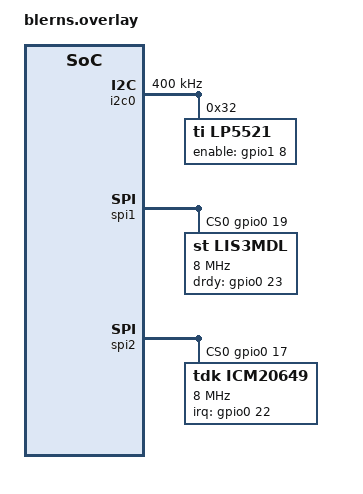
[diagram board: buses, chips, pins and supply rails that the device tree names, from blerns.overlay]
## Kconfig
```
config NRF5_POWER_MGMT_EXAMPLE
	bool
	default y
	select HAS_STATE_LOW_POWER_1
	select HAS_STATE_LOW_POWER_2
	select HAS_STATE_LOW_POWER_3
	help
	  Hidden option enabling LPS_1 and LPS_2 low power states.
	  This is needed, as these states are implemented by this example.

# Include Zephyr's Kconfig.
source "$ZEPHYR_BASE/Kconfig"
```

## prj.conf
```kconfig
CONFIG_SYS_POWER_MANAGEMENT=y
CONFIG_SYS_POWER_LOW_POWER_STATES=y
CONFIG_SYS_POWER_DEEP_SLEEP_STATES=n
CONFIG_DEVICE_POWER_MANAGEMENT=y
CONFIG_SYS_PM_STATE_LOCK=y
CONFIG_SYS_PM_LPS_1_MIN_RES=5000
CONFIG_SYS_PM_LPS_2_MIN_RES=15000
CONFIG_GPIO=y

CONFIG_TIMESLICING=n
CONFIG_TICKLESS_KERNEL=y
CONFIG_TICKLESS_IDLE=y


CONFIG_BT=n
CONFIG_BT_CTLR=n

CONFIG_SERIAL=n
CONFIG_CONSOLE=n
CONFIG_USE_SEGGER_RTT=n
CONFIG_RTT_CONSOLE=n
CONFIG_UART_CONSOLE=n

CONFIG_USB=n
CONFIG_USB_DEVICE_PRODUCT="Power Test"
CONFIG_USB_UART_CONSOLE=n

CONFIG_UART_INTERRUPT_DRIVEN=n
CONFIG_UART_LINE_CTRL=n
CONFIG_UART_0_NRF_UART=n

CONFIG_SYS_LOG=n
CONFIG_LOG=n
CONFIG_LOG_PRINTK=n
CONFIG_LOG_PROCESS_THREAD=n

CONFIG_I2C=y
CONFIG_I2C_NRFX=y
CONFIG_I2C_0=y
CONFIG_I2C_0_NRF_TWIM=y

CONFIG_SPI=y
CONFIG_SPI_NRFX=y
CONFIG_SPI_1=y
CONFIG_SPI_1_NRF_SPIM=y
CONFIG_SPI_2=y
CONFIG_SPI_2_NRF_SPIM=y

CONFIG_LED=y
CONFIG_LP5521=y

CONFIG_SENSOR=y
CONFIG_LIS3MDL=y
CONFIG_LIS3MDL_TRIGGER=n
CONFIG_LIS3MDL_THREAD_PRIORITY=1
CONFIG_LIS3MDL_TRIGGER_OWN_THREAD=y
CONFIG_LIS3MDL_TRIGGER_IRQ=n
CONFIG_LIS3MDL_TRIGGER_GLOBAL_THREAD=n
CONFIG_LIS3MDL_DATA_RAW=y
CONFIG_LIS3MDL_DATA_CONVERTED=n
CONFIG_LIS3MDL_ODR="1000"
CONFIG_LIS3MDL_FS=8

CONFIG_ICM20649=y
CONFIG_ICM20649_VERIFY_WRITE=y
CONFIG_ICM20649_TRIGGER=n
CONFIG_ICM20649_THREAD_PRIORITY=1
CONFIG_ICM20649_TRIGGER_OWN_THREAD=y
CONFIG_ICM20649_TRIGGER_IRQ=n
CONFIG_ICM20649_TRIGGER_GLOBAL_THREAD=n
CONFIG_ICM20649_ENABLE_TEMP=y
CONFIG_ICM20649_GYRO_FS=4000
CONFIG_ICM20649_ACCEL_FS=30
```

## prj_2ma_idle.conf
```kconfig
CONFIG_SYS_POWER_MANAGEMENT=y
CONFIG_SYS_POWER_LOW_POWER_STATES=y
CONFIG_SYS_POWER_DEEP_SLEEP_STATES=n
CONFIG_DEVICE_POWER_MANAGEMENT=y
CONFIG_SYS_PM_STATE_LOCK=y
CONFIG_SYS_PM_LPS_1_MIN_RES=5000
CONFIG_SYS_PM_LPS_2_MIN_RES=15000
CONFIG_GPIO=y

CONFIG_TIMESLICING=n
CONFIG_TICKLESS_KERNEL=y
CONFIG_TICKLESS_IDLE=y


CONFIG_BT=n
CONFIG_BT_CTLR=n

CONFIG_SERIAL=y
CONFIG_CONSOLE=y
CONFIG_USE_SEGGER_RTT=y
CONFIG_RTT_CONSOLE=y
CONFIG_UART_CONSOLE=n

CONFIG_USB=n
CONFIG_USB_DEVICE_PRODUCT="Power Test"
CONFIG_USB_UART_CONSOLE=n

CONFIG_UART_INTERRUPT_DRIVEN=n
CONFIG_UART_LINE_CTRL=n
CONFIG_UART_0_NRF_UART=n

CONFIG_SYS_LOG=y
CONFIG_LOG=y
CONFIG_LOG_PRINTK=y

CONFIG_I2C=y
CONFIG_I2C_NRFX=y
CONFIG_I2C_0=y
CONFIG_I2C_0_NRF_TWIM=y

CONFIG_SPI=y
CONFIG_SPI_NRFX=y
CONFIG_SPI_1=y
CONFIG_SPI_1_NRF_SPIM=y
CONFIG_SPI_2=y
CONFIG_SPI_2_NRF_SPIM=y

CONFIG_LED=y
CONFIG_LP5521=y

CONFIG_SENSOR=y
CONFIG_LIS3MDL=y
CONFIG_LIS3MDL_TRIGGER=n
CONFIG_LIS3MDL_THREAD_PRIORITY=1
CONFIG_LIS3MDL_TRIGGER_OWN_THREAD=y
CONFIG_LIS3MDL_TRIGGER_IRQ=n
CONFIG_LIS3MDL_TRIGGER_GLOBAL_THREAD=n
CONFIG_LIS3MDL_DATA_RAW=y
CONFIG_LIS3MDL_DATA_CONVERTED=n
CONFIG_LIS3MDL_ODR="1000"
CONFIG_LIS3MDL_FS=8

CONFIG_ICM20649=y
CONFIG_ICM20649_VERIFY_WRITE=y
CONFIG_ICM20649_TRIGGER=n
CONFIG_ICM20649_THREAD_PRIORITY=1
CONFIG_ICM20649_TRIGGER_OWN_THREAD=y
CONFIG_ICM20649_TRIGGER_IRQ=n
CONFIG_ICM20649_TRIGGER_GLOBAL_THREAD=n
CONFIG_ICM20649_ENABLE_TEMP=y
CONFIG_ICM20649_GYRO_FS=4000
CONFIG_ICM20649_ACCEL_FS=30
```

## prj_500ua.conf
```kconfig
# Generated by Kconfiglib (https://github.com/ulfalizer/Kconfiglib)
CONFIG_SPI=y
CONFIG_SOC_SERIES_NRF52X=y
CONFIG_SOC_NRF52840_QIAA=y
CONFIG_ARM_MPU=y
CONFIG_ARM=y
CONFIG_MAIN_STACK_SIZE=2048
CONFIG_IDLE_STACK_SIZE=512
# CONFIG_TIMESLICING is not set
CONFIG_SYS_POWER_LOW_POWER_STATES=y
CONFIG_SYS_PM_STATE_LOCK=y
CONFIG_SYS_PM_LPS_2_MIN_RES=15000
CONFIG_DEVICE_POWER_MANAGEMENT=y
CONFIG_SPI_2=y
CONFIG_SPI_1_NRF_SPIM=y
CONFIG_SPI_2_NRF_SPIM=y
CONFIG_I2C=y
CONFIG_I2C_0_NRF_TWIM=y
CONFIG_SENSOR=y
CONFIG_ICM20649=y
CONFIG_ICM20649_VERIFY_WRITE=y
CONFIG_ICM20649_TRIGGER_OWN_THREAD=y
CONFIG_ICM20649_THREAD_PRIORITY=1
CONFIG_ICM20649_ENABLE_TEMP=y
CONFIG_ICM20649_GYRO_FS=4000
CONFIG_ICM20649_ACCEL_FS=30
CONFIG_LIS3MDL=y
CONFIG_LIS3MDL_DATA_RAW=y
CONFIG_LIS3MDL_TRIGGER_OWN_THREAD=y
CONFIG_LIS3MDL_THREAD_PRIORITY=1
CONFIG_LIS3MDL_ODR="1000"
CONFIG_LIS3MDL_FS=8
CONFIG_LED=y
CONFIG_LP5521=y
CONFIG_EARLY_CONSOLE=y
CONFIG_ASSERT=y
CONFIG_SYS_LOG=y
CONFIG_LOG=y
CONFIG_LOG_PRINTK=y
# CONFIG_LOG_PROCESS_THREAD is not set
```

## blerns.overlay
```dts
/*
 * Copyright (c) 2018 Intel Corporation
 *
 * SPDX-License-Identifier: Apache-2.0
 */
/ {
        chosen {
                zephyr,console = &usb_cdc;
        };
};

&i2c0 {
	status = "ok";
	clock-frequency = <I2C_BITRATE_FAST>;

	lp5521@32 {
        label = "LP5521";
		compatible = "ti,lp5521";
		reg = <0x32>;
        enable-gpios = <&gpio1 8 0>;
	};
};

&spi1 {
	status = "ok";
    cs-gpios = <&gpio0 19 0>;

    lis3mdl@0 {
        label = "LIS3MDL";
        compatible = "st,lis3mdl";
        reg = <0>;
        spi-max-frequency = <8000000>;
        drdy-gpios = <&gpio0 23 0>;
    };
};

&spi2 {
	status = "ok";
    cs-gpios = <&gpio0 17 0>;

    icm20649@0 {
        label = "ICM20649";
        compatible = "tdk,icm20649";
        reg = <0>;
        spi-max-frequency = <8000000>;
        irq-gpios = <&gpio0 22 0>;
    };
};
```

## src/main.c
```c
/*
 * Copyright (c) 2016 Intel Corporation.
 *
 * SPDX-License-Identifier: Apache-2.0
 */

#include "sample.h"

#include <drivers/led/lp5521.h>
#include <drivers/sensors/lis3mdl.h>
#include <drivers/sensors/icm20649.h>

#define BUSY_WAIT_DELAY_US		(10 * 1000000)

#define LPS1_STATE_ENTER_TO		10
#define LPS2_STATE_ENTER_TO		30
#define DEEP_SLEEP_STATE_ENTER_TO	90

#define DEMO_DESCRIPTION	\
	"Demo Description\n"	\
	"Application creates idleness, due to which System Idle Thread is\n"\
	"scheduled and it enters into various Low Power States.\n"\

struct device *gpio_port;

#ifdef CONFIG_BT_ENABLE

#include <zephyr/types.h>
#include <stddef.h>
#include <string.h>
#include <errno.h>
#include <misc/printk.h>
#include <misc/byteorder.h>
#include <zephyr.h>

#include <bluetooth/bluetooth.h>
#include <bluetooth/hci.h>
#include <bluetooth/conn.h>
#include <bluetooth/uuid.h>
#include <bluetooth/gatt.h>

struct bt_conn *default_conn;

static const struct bt_data ad[] = {
	BT_DATA_BYTES(BT_DATA_FLAGS, (BT_LE_AD_GENERAL | BT_LE_AD_NO_BREDR)),
	BT_DATA_BYTES(BT_DATA_UUID16_ALL, 0x0d, 0x18, 0x0f, 0x18, 0x05, 0x18),
};

static void connected(struct bt_conn *conn, u8_t err)
{
	if (err) {
		printk("Connection failed (err %u)\n", err);
	} else {
		default_conn = bt_conn_ref(conn);
		printk("Connected\n");
	}
}

static void disconnected(struct bt_conn *conn, u8_t reason)
{
	printk("Disconnected (reason %u)\n", reason);

	if (default_conn) {
		bt_conn_unref(default_conn);
		default_conn = NULL;
	}
}

static struct bt_conn_cb conn_callbacks = {
	.connected = connected,
	.disconnected = disconnected,
};

static void bt_ready(int err)
{
	if (err) {
		printk("Bluetooth init failed (err %d)\n", err);
		return;
	}

	printk("Bluetooth initialized\n");

	err = bt_le_adv_start(BT_LE_ADV_CONN_NAME, ad, ARRAY_SIZE(ad), NULL, 0);
	if (err) {
		printk("Advertising failed to start (err %d)\n", err);
		return;
	}

	printk("Advertising successfully started\n");
}

static void auth_cancel(struct bt_conn *conn)
{
	char addr[BT_ADDR_LE_STR_LEN];

	bt_addr_le_to_str(bt_conn_get_dst(conn), addr, sizeof(addr));

	printk("Pairing cancelled: %s\n", addr);
}

static struct bt_conn_auth_cb auth_cb_display = {
	.cancel = auth_cancel,
};

#endif

/* Application main Thread */
void main(void)
{
	u32_t level = 0U;

	printk("\n\n*** Power Management Demo on %s ***\n", CONFIG_BOARD);
	printk(DEMO_DESCRIPTION);

	int err;

#ifdef CONFIG_BT_ENABLE
	err = bt_enable(bt_ready);
	if (err) {
		printk("Bluetooth init failed (err %d)\n", err);
		return;
	}

	bt_conn_cb_register(&conn_callbacks);
	bt_conn_auth_cb_register(&auth_cb_display);
#endif

#ifdef CONFIG_LIS3MDL
	struct device *lis3mdl = device_get_binding(DT_ST_LIS3MDL_0_LABEL);

	if(lis3mdl_sleep(lis3mdl) < 0) {
		printk("Failed to put lis3mdl to sleep\n");
	}
#endif

#ifdef CONFIG_ICM20649
	struct device *icm20649 = device_get_binding(DT_TDK_ICM20649_0_LABEL);
	if(icm20649_sleep(icm20649) < 0) {
		printk("Failed to put icm20649 to sleep\n");
	}
#endif

#ifdef CONFIG_LP5521
	struct device *lp5521 = device_get_binding(DT_TI_LP5521_0_LABEL);

	if(lp5521_sleep(lp5521) < 0) {
		printk("Failed to put lp5521 to sleep\n");
	}
#endif

	//gpio_port = device_get_binding(PORT);

	///* Configure Button 1 as deep sleep trigger event */
	//gpio_pin_configure(gpio_port, BUTTON_1, GPIO_DIR_IN
	//					| GPIO_PUD_PULL_UP);

	///* Configure Button 2 as wake source from deep sleep */
	//gpio_pin_configure(gpio_port, BUTTON_2, GPIO_DIR_IN
	//					| GPIO_PUD_PULL_UP
	//					| GPIO_INT | GPIO_INT_LEVEL
	//					| GPIO_CFG_SENSE_LOW);

	//gpio_pin_enable_callback(gpio_port, BUTTON_2);

	///* Configure LEDs */
	//gpio_pin_configure(gpio_port, LED_1, GPIO_DIR_OUT);
	//gpio_pin_write(gpio_port, LED_1, LED_ON);

	//gpio_pin_configure(gpio_port, LED_2, GPIO_DIR_OUT);
	//gpio_pin_write(gpio_port, LED_2, LED_ON);

	/*
	 * Start the demo.
	 */
	for (int i = 1; i <= 8; i++) {
		unsigned int sleep_seconds;

		switch (i) {
		case 3:
			printk("\n<-- Disabling %s state --->\n",
					STRINGIFY(SYS_POWER_STATE_LOW_POWER_3));
			sys_pm_ctrl_disable_state(SYS_POWER_STATE_LOW_POWER_3);
			break;

		case 5:
			printk("\n<-- Enabling %s state --->\n",
				       STRINGIFY(SYS_POWER_STATE_LOW_POWER_3));
			sys_pm_ctrl_enable_state(SYS_POWER_STATE_LOW_POWER_3);

			printk("<-- Disabling %s state --->\n",
					STRINGIFY(SYS_POWER_STATE_LOW_POWER_2));
			sys_pm_ctrl_disable_state(SYS_POWER_STATE_LOW_POWER_2);
			break;

		case 7:
			printk("\n<-- Enabling %s state --->\n",
				       STRINGIFY(SYS_POWER_STATE_LOW_POWER_2));
			sys_pm_ctrl_enable_state(SYS_POWER_STATE_LOW_POWER_2);

			printk("<-- Forcing %s state --->\n",
				       STRINGIFY(SYS_POWER_STATE_LOW_POWER_3));
			sys_pm_force_power_state(SYS_POWER_STATE_LOW_POWER_3);
			break;

		default:
			/* Do nothing. */
			break;
		}

		printk("\n<-- App doing busy wait for 10 Sec -->\n");
		k_busy_wait(BUSY_WAIT_DELAY_US);

		sleep_seconds = (i % 2 != 0) ? LPS1_STATE_ENTER_TO :
					       LPS2_STATE_ENTER_TO;

		printk("\n<-- App going to sleep for %u Sec -->\n",
							sleep_seconds);
		k_sleep(K_SECONDS(sleep_seconds));
	}

	/* Restore automatic power management. */
	printk("\n<-- Forcing %s state --->\n",
		       STRINGIFY(SYS_POWER_STATE_AUTO));
	sys_pm_force_power_state(SYS_POWER_STATE_AUTO);

	printk("\nPress BUTTON1 to enter into Deep Sleep state. "
			"Press BUTTON2 to exit Deep Sleep state\n");
	while (1) {
		//gpio_pin_read(gpio_port, BUTTON_1, &level);
		//if (level == LOW) {
		//	k_sleep(K_SECONDS(DEEP_SLEEP_STATE_ENTER_TO));
		//}
		k_sleep(K_SECONDS(30));
	}
}
```

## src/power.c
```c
/*
 * Copyright (c) 2018 Nordic Semiconductor ASA.
 *
 * SPDX-License-Identifier: Apache-2.0
 */

#include "sample.h"

/*
 * Application defined function for doing any target specific operations
 * for low power entry.
 */
void sys_pm_notify_lps_entry(enum power_states state)
{
	switch (state) {
	case SYS_POWER_STATE_LOW_POWER_2:
		printk("--> Entering to SYS_POWER_STATE_LOW_POWER_2 state.\n");

		/*
		 * This power state is implemented by this sample.
		 * Perform enter to the low power state by turning off LED2.
		 */
		//gpio_pin_write(gpio_port, LED_1, LED_ON);
		//gpio_pin_write(gpio_port, LED_2, LED_OFF);
		k_cpu_idle();
		break;

	case SYS_POWER_STATE_LOW_POWER_3:
		printk("--> Entering to SYS_POWER_STATE_LOW_POWER_3 state.\n");

		/*
		 * This power state is implemented by this sample.
		 * Perform enter to the low power state by turning off LEDs.
		 */
		//gpio_pin_write(gpio_port, LED_1, LED_OFF);
		//gpio_pin_write(gpio_port, LED_2, LED_OFF);
		k_cpu_idle();
		break;

//	case SYS_POWER_STATE_DEEP_SLEEP_1:
//		printk("--> Entering to SYS_POWER_STATE_DEEP_SLEEP_1 state.\n");

		/*
		 * This power mode is already implemented by the OS. It will be
		 * handled by SoC-specific code. Here we just turn off the LEDs
		 * to save power.
		 */
		//gpio_pin_write(gpio_port, LED_1, LED_OFF);
		//gpio_pin_write(gpio_port, LED_2, LED_OFF);

		/* Nothing else to do */
		break;

	default:
		printk("Unsupported power state %u", state);
		break;
	}
}

/*
 * Application defined function for doing any target specific operations
 * for low power exit.
 */
void sys_pm_notify_lps_exit(enum power_states state)
{
	switch (state) {
	case SYS_POWER_STATE_LOW_POWER_2:
		//printk("--> Exited from SYS_POWER_STATE_LOW_POWER_2 state.\n");

		/* Perform exit from the low power state by turning on LEDs */
		//gpio_pin_write(gpio_port, LED_1, LED_ON);
		//gpio_pin_write(gpio_port, LED_2, LED_ON);
		break;

	case SYS_POWER_STATE_LOW_POWER_3:
		//printk("--> Exited from SYS_POWER_STATE_LOW_POWER_3 state.\n");

		/* Perform exit from the low power state by turning on LEDs */
		//gpio_pin_write(gpio_port, LED_1, LED_ON);
		//gpio_pin_write(gpio_port, LED_2, LED_ON);
		break;

//	case SYS_POWER_STATE_DEEP_SLEEP_1:
//		printk("--> Exited from SYS_POWER_STATE_DEEP_SLEEP_1 state.\n");

		/* Turn on LEDs which were powered down before deep sleep. */
		//gpio_pin_write(gpio_port, LED_1, LED_ON);
		//gpio_pin_write(gpio_port, LED_2, LED_ON);
		break;

	default:
		printk("Unsupported power state %u", state);
		break;
	}
}
```
